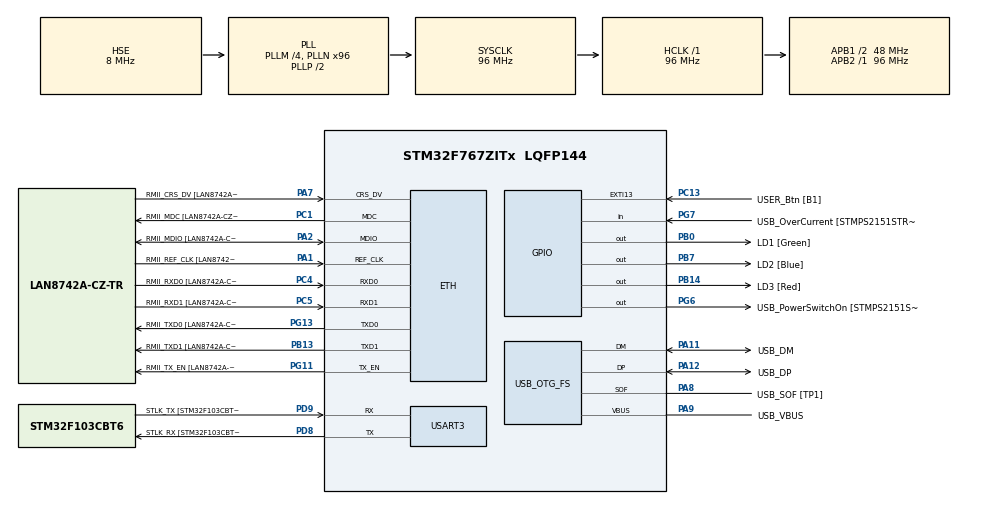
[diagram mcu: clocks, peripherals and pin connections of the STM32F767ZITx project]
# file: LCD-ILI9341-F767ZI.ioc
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ETH.MediaInterface=HAL_ETH_RMII_MODE
ETH.PHY_Name=LAN8742A_PHY_ADDRESS
ETH.PHY_Value=0
ETH.PhyAddress=0
Mcu.Family=STM32F7
Mcu.Name=STM32F767ZITx
Mcu.Package=LQFP144
NVIC.PriorityGroup=NVIC_PRIORITYGROUP_4
PA1.GPIO_Label=RMII_REF_CLK [LAN8742A-CZ-TR_REFCLK0]
PA1.Mode=RMII
PA1.Signal=ETH_REF_CLK
PA10.GPIO_Label=USB_ID
PA10.Signal=USB_OTG_FS_ID
PA11.GPIO_Label=USB_DM
PA11.Mode=Device_Only
PA11.Signal=USB_OTG_FS_DM
PA12.GPIO_Label=USB_DP
PA12.Mode=Device_Only
PA12.Signal=USB_OTG_FS_DP
PA13.GPIO_Label=TMS
PA13.Mode=Serial_Wire
PA13.Signal=SYS_JTMS-SWDIO
PA14.GPIO_Label=TCK
PA14.Mode=Serial_Wire
PA14.Signal=SYS_JTCK-SWCLK
PA2.GPIO_Label=RMII_MDIO [LAN8742A-CZ-TR_MDIO]
PA2.Mode=RMII
PA2.Signal=ETH_MDIO
PA7.GPIO_Label=RMII_CRS_DV [LAN8742A-CZ-TR_CRS_DV]
PA7.Mode=RMII
PA7.Signal=ETH_CRS_DV
PA8.GPIO_Label=USB_SOF [TP1]
PA8.Mode=Activate_SOF_FS
PA8.Signal=USB_OTG_FS_SOF
PA9.GPIO_Label=USB_VBUS
PA9.Mode=Activate_VBUS
PA9.Signal=USB_OTG_FS_VBUS
PB0.GPIO_Label=LD1 [Green]
PB0.Signal=GPIO_Output
PB13.GPIO_Label=RMII_TXD1 [LAN8742A-CZ-TR_TXD1]
PB13.Mode=RMII
PB13.Signal=ETH_TXD1
PB14.GPIO_Label=LD3 [Red]
PB14.Signal=GPIO_Output
PB3.GPIO_Label=SWO
PB3.Signal=SYS_JTDO-SWO
PB7.GPIO_Label=LD2 [Blue]
PB7.Signal=GPIO_Output
PC1.GPIO_Label=RMII_MDC [LAN8742A-CZ-TR_MDC]
PC1.Mode=RMII
PC1.Signal=ETH_MDC
PC13.GPIO_Label=USER_Btn [B1]
PC13.Signal=GPXTI13
PC14/OSC32_IN.Mode=LSE-External-Oscillator
PC14/OSC32_IN.Signal=RCC_OSC32_IN
PC15/OSC32_OUT.Mode=LSE-External-Oscillator
PC15/OSC32_OUT.Signal=RCC_OSC32_OUT
PC4.GPIO_Label=RMII_RXD0 [LAN8742A-CZ-TR_RXD0]
PC4.Mode=RMII
PC4.Signal=ETH_RXD0
PC5.GPIO_Label=RMII_RXD1 [LAN8742A-CZ-TR_RXD1]
PC5.Mode=RMII
PC5.Signal=ETH_RXD1
PD8.GPIO_Label=STLK_RX [STM32F103CBT6_PA3]
PD8.Mode=Asynchronous
PD8.Signal=USART3_TX
PD9.GPIO_Label=STLK_TX [STM32F103CBT6_PA2]
PD9.Mode=Asynchronous
PD9.Signal=USART3_RX
PG11.GPIO_Label=RMII_TX_EN [LAN8742A-CZ-TR_TXEN]
PG11.Mode=RMII
PG11.Signal=ETH_TX_EN
PG13.GPIO_Label=RMII_TXD0 [LAN8742A-CZ-TR_TXD0]
PG13.Mode=RMII
PG13.Signal=ETH_TXD0
PG6.GPIO_Label=USB_PowerSwitchOn [STMPS2151STR_EN]
PG6.Signal=GPIO_Output
PG7.GPIO_Label=USB_OverCurrent [STMPS2151STR_FAULT]
PG7.Signal=GPIO_Input
PH0/OSC_IN.GPIO_Label=MCO [STM32F103CBT6_PA8]
PH0/OSC_IN.Mode=HSE-External-Clock-Source
PH0/OSC_IN.Signal=RCC_OSC_IN
PH1/OSC_OUT.Mode=HSE-External-Clock-Source
PH1/OSC_OUT.Signal=RCC_OSC_OUT
ProjectManager.HeapSize=0x200
ProjectManager.StackSize=0x400
ProjectManager.TargetToolchain=STM32CubeIDE
RCC.48MHZClocksFreq_Value=24000000
RCC.AHBFreq_Value=96000000
RCC.APB1CLKDivider=RCC_HCLK_DIV2
RCC.APB1Freq_Value=48000000
RCC.APB1TimFreq_Value=96000000
RCC.APB2Freq_Value=96000000
RCC.APB2TimFreq_Value=96000000
RCC.CortexFreq_Value=96000000
RCC.HCLKFreq_Value=96000000
RCC.HSE_VALUE=8000000
RCC.HSI_VALUE=16000000
RCC.PLLM=4
RCC.PLLMUL=RCC_PLL_MUL9
RCC.PLLN=96
RCC.PLLQ=4
RCC.PRESCALERUSB=RCC_USBCLKSOURCE_PLL_DIV1_5
RCC.SYSCLKFreq_VALUE=96000000
RCC.SYSCLKSource=RCC_SYSCLKSOURCE_PLLCLK
RCC.SYSCLKSourceVirtual=RCC_SYSCLKSOURCE_PLLCLK
RCC.USBFreq_Value=48000000
RCC.VCOOutputFreq_Value=192000000
USART3.VirtualMode-Asynchronous=VM_ASYNC
USB_OTG_FS.VirtualMode=Device_Only
board=NUCLEO-F767ZI

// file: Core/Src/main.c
/* USER CODE BEGIN Header */
/**
  ******************************************************************************
  * @file           : main.c
  * @brief          : Main program body
  ******************************************************************************
  * @attention
  *
  * Copyright (c) 2023 STMicroelectronics.
  * All rights reserved.
  *
  * This software is licensed under terms that can be found in the LICENSE file
  * in the root directory of this software component.
  * If no LICENSE file comes with this software, it is provided AS-IS.
  *
  ******************************************************************************
  */
/* USER CODE END Header */
#include "main.h"
#include "string.h"

/* USER CODE BEGIN Includes */
#include "ILI9341.h"
/* USER CODE END Includes */

#if defined ( __ICCARM__ ) /*!< IAR Compiler */
#pragma location=0x2007c000
ETH_DMADescTypeDef  DMARxDscrTab[ETH_RX_DESC_CNT]; /* Ethernet Rx DMA Descriptors */
#pragma location=0x2007c0a0
ETH_DMADescTypeDef  DMATxDscrTab[ETH_TX_DESC_CNT]; /* Ethernet Tx DMA Descriptors */

#elif defined ( __CC_ARM )  /* MDK ARM Compiler */

__attribute__((at(0x2007c000))) ETH_DMADescTypeDef  DMARxDscrTab[ETH_RX_DESC_CNT]; /* Ethernet Rx DMA Descriptors */
__attribute__((at(0x2007c0a0))) ETH_DMADescTypeDef  DMATxDscrTab[ETH_TX_DESC_CNT]; /* Ethernet Tx DMA Descriptors */

#elif defined ( __GNUC__ ) /* GNU Compiler */
ETH_DMADescTypeDef DMARxDscrTab[ETH_RX_DESC_CNT] __attribute__((section(".RxDecripSection"))); /* Ethernet Rx DMA Descriptors */
ETH_DMADescTypeDef DMATxDscrTab[ETH_TX_DESC_CNT] __attribute__((section(".TxDecripSection")));   /* Ethernet Tx DMA Descriptors */

#endif

ETH_TxPacketConfig TxConfig;

ETH_HandleTypeDef heth;

UART_HandleTypeDef huart3;

PCD_HandleTypeDef hpcd_USB_OTG_FS;

void SystemClock_Config(void);
static void MX_GPIO_Init(void);
static void MX_ETH_Init(void);
static void MX_USART3_UART_Init(void);
static void MX_USB_OTG_FS_PCD_Init(void);

int main(void)
{

  /* MCU Configuration--------------------------------------------------------*/

  /* Reset of all peripherals, Initializes the Flash interface and the Systick. */
  HAL_Init();

  /* Configure the system clock */
  SystemClock_Config();

  /* Initialize all configured peripherals */
  MX_GPIO_Init();
  MX_ETH_Init();
  MX_USART3_UART_Init();
  MX_USB_OTG_FS_PCD_Init();
  /* USER CODE BEGIN 2 */
  LCD_ILI9341_Init();

	bsp_lcd_set_background_color(RED);  		// Displays RED
	bsp_lcd_set_background_color(BLUE);			// Displays GREEN
	bsp_lcd_set_background_color(GREEN);		// Displays BLUE
	bsp_lcd_set_background_color(BLACK);		// Displays BLACK
	bsp_lcd_set_background_color(WHITE);		// Displays WHITE
	bsp_lcd_set_background_color(ORANGE);		// Displays VIOLET
	bsp_lcd_set_background_color(YELLOW);		// Displays VIOLET
	bsp_lcd_set_background_color(INDIGO);		// Displays dark red
	bsp_lcd_set_background_color(VIOLET);		// Displays brown

	//bsp_lcd_set_display_area(60, 259,100,139);
	bsp_lcd_set_display_area(100,139,60, 259);
	uint16_t data[200ul*40ul];
	for(uint32_t i = 0; i< (200ul*40ul); i++)
	{
		data[i] = bsp_lcd_convert_rgb888_to_rgb565(RED);
	}
	LCD_Write_Cmd(LCD_MEM_WRITE);
	bsp_lcd_write((uint8_t*)data, (200ul*40ul*2ul));

  /* USER CODE END 2 */

  /* Infinite loop */
  while (1)
  {

  }
}

void SystemClock_Config(void)
{
  RCC_OscInitTypeDef RCC_OscInitStruct = {0};
  RCC_ClkInitTypeDef RCC_ClkInitStruct = {0};

  /** Configure LSE Drive Capability
  */
  HAL_PWR_EnableBkUpAccess();

  /** Configure the main internal regulator output voltage
  */
  __HAL_RCC_PWR_CLK_ENABLE();
  __HAL_PWR_VOLTAGESCALING_CONFIG(PWR_REGULATOR_VOLTAGE_SCALE3);

  /** Initializes the RCC Oscillators according to the specified parameters
  * in the RCC_OscInitTypeDef structure.
  */
  RCC_OscInitStruct.OscillatorType = RCC_OSCILLATORTYPE_HSE;
  RCC_OscInitStruct.HSEState = RCC_HSE_BYPASS;
  RCC_OscInitStruct.PLL.PLLState = RCC_PLL_ON;
  RCC_OscInitStruct.PLL.PLLSource = RCC_PLLSOURCE_HSE;
  RCC_OscInitStruct.PLL.PLLM = 4;
  RCC_OscInitStruct.PLL.PLLN = 96;
  RCC_OscInitStruct.PLL.PLLP = RCC_PLLP_DIV2;
  RCC_OscInitStruct.PLL.PLLQ = 4;
  RCC_OscInitStruct.PLL.PLLR = 2;
  if (HAL_RCC_OscConfig(&RCC_OscInitStruct) != HAL_OK)
  {
    Error_Handler();
  }

  /** Activate the Over-Drive mode
  */
  if (HAL_PWREx_EnableOverDrive() != HAL_OK)
  {
    Error_Handler();
  }

  /** Initializes the CPU, AHB and APB buses clocks
  */
  RCC_ClkInitStruct.ClockType = RCC_CLOCKTYPE_HCLK|RCC_CLOCKTYPE_SYSCLK
                              |RCC_CLOCKTYPE_PCLK1|RCC_CLOCKTYPE_PCLK2;
  RCC_ClkInitStruct.SYSCLKSource = RCC_SYSCLKSOURCE_PLLCLK;
  RCC_ClkInitStruct.AHBCLKDivider = RCC_SYSCLK_DIV1;
  RCC_ClkInitStruct.APB1CLKDivider = RCC_HCLK_DIV2;
  RCC_ClkInitStruct.APB2CLKDivider = RCC_HCLK_DIV1;

  if (HAL_RCC_ClockConfig(&RCC_ClkInitStruct, FLASH_LATENCY_3) != HAL_OK)
  {
    Error_Handler();
  }
}

static void MX_ETH_Init(void)
{

   static uint8_t MACAddr[6];

  heth.Instance = ETH;
  MACAddr[0] = 0x00;
  MACAddr[1] = 0x80;
  MACAddr[2] = 0xE1;
  MACAddr[3] = 0x00;
  MACAddr[4] = 0x00;
  MACAddr[5] = 0x00;
  heth.Init.MACAddr = &MACAddr[0];
  heth.Init.MediaInterface = HAL_ETH_RMII_MODE;
  heth.Init.TxDesc = DMATxDscrTab;
  heth.Init.RxDesc = DMARxDscrTab;
  heth.Init.RxBuffLen = 1524;

  if (HAL_ETH_Init(&heth) != HAL_OK)
  {
    Error_Handler();
  }

  memset(&TxConfig, 0 , sizeof(ETH_TxPacketConfig));
  TxConfig.Attributes = ETH_TX_PACKETS_FEATURES_CSUM | ETH_TX_PACKETS_FEATURES_CRCPAD;
  TxConfig.ChecksumCtrl = ETH_CHECKSUM_IPHDR_PAYLOAD_INSERT_PHDR_CALC;
  TxConfig.CRCPadCtrl = ETH_CRC_PAD_INSERT;

}

static void MX_USART3_UART_Init(void)
{

  huart3.Instance = USART3;
  huart3.Init.BaudRate = 115200;
  huart3.Init.WordLength = UART_WORDLENGTH_8B;
  huart3.Init.StopBits = UART_STOPBITS_1;
  huart3.Init.Parity = UART_PARITY_NONE;
  huart3.Init.Mode = UART_MODE_TX_RX;
  huart3.Init.HwFlowCtl = UART_HWCONTROL_NONE;
  huart3.Init.OverSampling = UART_OVERSAMPLING_16;
  huart3.Init.OneBitSampling = UART_ONE_BIT_SAMPLE_DISABLE;
  huart3.AdvancedInit.AdvFeatureInit = UART_ADVFEATURE_NO_INIT;
  if (HAL_UART_Init(&huart3) != HAL_OK)
  {
    Error_Handler();
  }

}

static void MX_USB_OTG_FS_PCD_Init(void)
{

  hpcd_USB_OTG_FS.Instance = USB_OTG_FS;
  hpcd_USB_OTG_FS.Init.dev_endpoints = 6;
  hpcd_USB_OTG_FS.Init.speed = PCD_SPEED_FULL;
  hpcd_USB_OTG_FS.Init.dma_enable = DISABLE;
  hpcd_USB_OTG_FS.Init.phy_itface = PCD_PHY_EMBEDDED;
  hpcd_USB_OTG_FS.Init.Sof_enable = ENABLE;
  hpcd_USB_OTG_FS.Init.low_power_enable = DISABLE;
  hpcd_USB_OTG_FS.Init.lpm_enable = DISABLE;
  hpcd_USB_OTG_FS.Init.vbus_sensing_enable = ENABLE;
  hpcd_USB_OTG_FS.Init.use_dedicated_ep1 = DISABLE;
  if (HAL_PCD_Init(&hpcd_USB_OTG_FS) != HAL_OK)
  {
    Error_Handler();
  }

}

static void MX_GPIO_Init(void)
{
  GPIO_InitTypeDef GPIO_InitStruct = {0};

  /* GPIO Ports Clock Enable */
  __HAL_RCC_GPIOC_CLK_ENABLE();
  __HAL_RCC_GPIOH_CLK_ENABLE();
  __HAL_RCC_GPIOA_CLK_ENABLE();
  __HAL_RCC_GPIOB_CLK_ENABLE();
  __HAL_RCC_GPIOD_CLK_ENABLE();
  __HAL_RCC_GPIOG_CLK_ENABLE();

  /*Configure GPIO pin Output Level */
  HAL_GPIO_WritePin(GPIOB, LD1_Pin|LD3_Pin|LD2_Pin, GPIO_PIN_RESET);

  /*Configure GPIO pin Output Level */
  HAL_GPIO_WritePin(USB_PowerSwitchOn_GPIO_Port, USB_PowerSwitchOn_Pin, GPIO_PIN_RESET);

  /*Configure GPIO pin : USER_Btn_Pin */
  GPIO_InitStruct.Pin = USER_Btn_Pin;
  GPIO_InitStruct.Mode = GPIO_MODE_IT_RISING;
  GPIO_InitStruct.Pull = GPIO_NOPULL;
  HAL_GPIO_Init(USER_Btn_GPIO_Port, &GPIO_InitStruct);

  /*Configure GPIO pins : LD1_Pin LD3_Pin LD2_Pin */
  GPIO_InitStruct.Pin = LD1_Pin|LD3_Pin|LD2_Pin;
  GPIO_InitStruct.Mode = GPIO_MODE_OUTPUT_PP;
  GPIO_InitStruct.Pull = GPIO_NOPULL;
  GPIO_InitStruct.Speed = GPIO_SPEED_FREQ_LOW;
  HAL_GPIO_Init(GPIOB, &GPIO_InitStruct);

  /*Configure GPIO pin : USB_PowerSwitchOn_Pin */
  GPIO_InitStruct.Pin = USB_PowerSwitchOn_Pin;
  GPIO_InitStruct.Mode = GPIO_MODE_OUTPUT_PP;
  GPIO_InitStruct.Pull = GPIO_NOPULL;
  GPIO_InitStruct.Speed = GPIO_SPEED_FREQ_LOW;
  HAL_GPIO_Init(USB_PowerSwitchOn_GPIO_Port, &GPIO_InitStruct);

  /*Configure GPIO pin : USB_OverCurrent_Pin */
  GPIO_InitStruct.Pin = USB_OverCurrent_Pin;
  GPIO_InitStruct.Mode = GPIO_MODE_INPUT;
  GPIO_InitStruct.Pull = GPIO_NOPULL;
  HAL_GPIO_Init(USB_OverCurrent_GPIO_Port, &GPIO_InitStruct);

}

void Error_Handler(void)
{
  __disable_irq();
  while (1)
  {
  }
}
